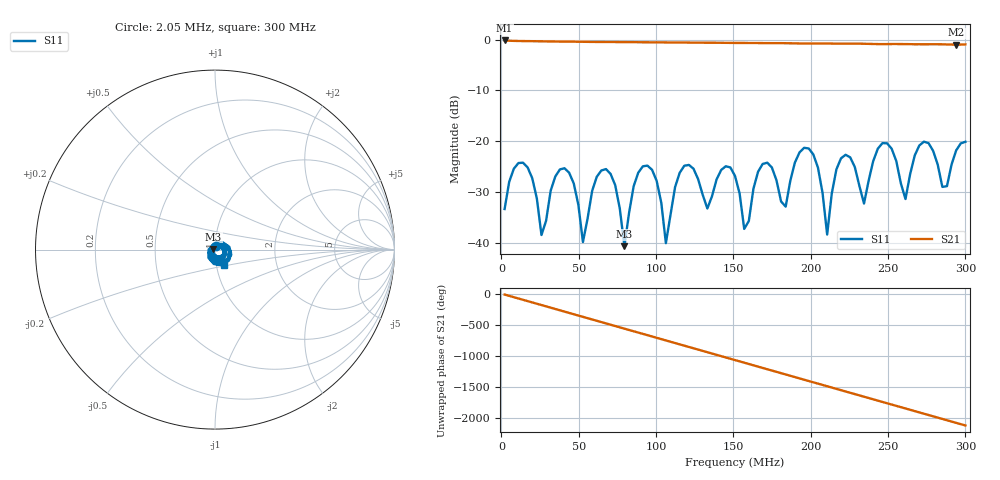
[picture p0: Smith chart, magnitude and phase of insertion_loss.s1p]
# Hz S RI R 50
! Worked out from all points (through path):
!   101 points, 2.05 MHz to 300 MHz, reference 50 ohm
!   highest |S21| = -0.16 dB at 2.05 MHz (marker M1); lowest = -1.0 dB at 294 MHz (marker M2)
!   group delay of S21, straight-line fit = 19.6 ns
!   lowest |S11| = -40.7 dB at 79.52 MHz (marker M3), VSWR 1.02, Z = 49.1 + j0.316 ohm
!   |S11| at or under -10 dB: start of sweep to end of sweep
!   S12 and S22 are empty: the file has one direction only
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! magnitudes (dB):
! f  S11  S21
! 2.05 MHz  -33.3  -0.2
! 13.97 MHz  -24.2  -0.3
! 25.89 MHz  -38.5  -0.3
! 40.78 MHz  -25.3  -0.4
! 52.7 MHz  -39.9  -0.4
! 67.6 MHz  -25.5  -0.5
! 79.52 MHz  -40.7  -0.5
! 91.44 MHz  -24.9  -0.5
! 103.4 MHz  -32.1  -0.5
! 106.3 MHz  -40.1  -0.5
! 151 MHz  -26.8  -0.6
! 157 MHz  -37.3  -0.7
! 168.9 MHz  -24.5  -0.7
! 183.8 MHz  -32.9  -0.7
! 201.7 MHz  -22.6  -0.8
! 210.6 MHz  -38.4  -0.8
! 219.6 MHz  -23.4  -0.8
! 234.5 MHz  -32.3  -0.8
! 252.3 MHz  -21.5  -0.9
! 261.3 MHz  -31.4  -0.9
! 294 MHz  -21.8  -1.0
! 300 MHz  -20.1  -0.9
